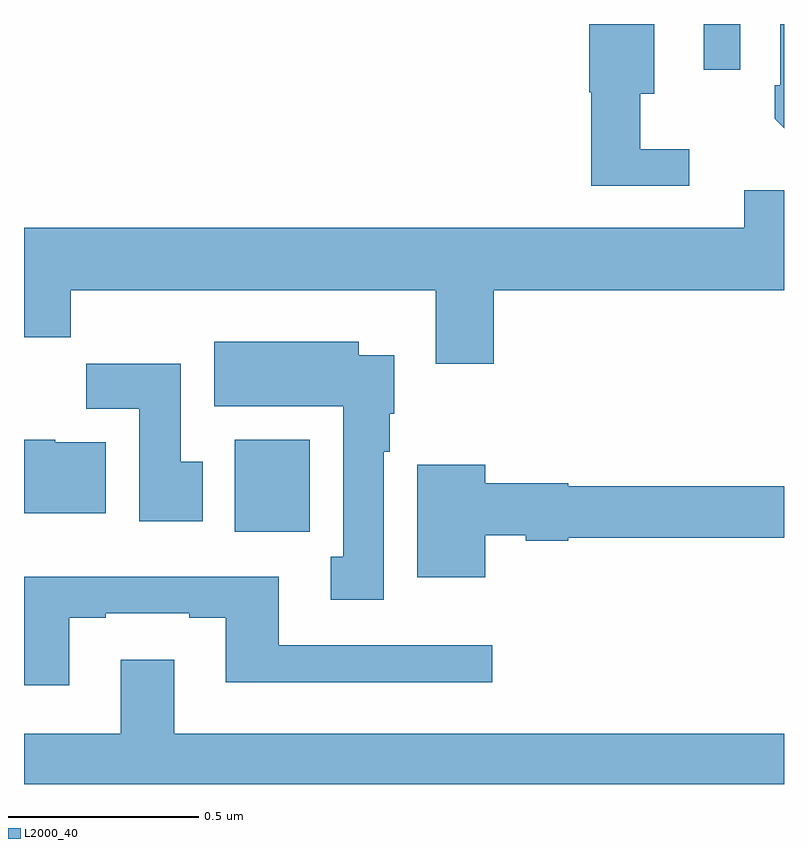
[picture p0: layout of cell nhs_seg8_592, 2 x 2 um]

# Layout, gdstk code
import gdstk
lib = gdstk.Library(unit=1e-6, precision=1e-09)
def R(c, l, rs):  # rectangles x0, y0, x1, y1
    for r in rs: c.add(gdstk.rectangle(r[:2], r[2:], *l))
def P(c, l, *ps):  # polygons
    for p in ps: c.add(gdstk.Polygon(p, *l))
L2000_40 = (2000, 40)

nhs_seg8_592 = lib.new_cell('nhs_seg8_592')
R(nhs_seg8_592, L2000_40, [(119.555,1082.564,119.752,1082.806), (120.789,1083.78,120.885,1083.9)])
P(nhs_seg8_592, L2000_40, [(121,1083.9),(120.99,1083.9),(120.99,1083.739),(120.975,1083.739),(120.975,1083.651),(121,1083.626)],
  [(120.751,1083.571),(120.622,1083.571),(120.622,1083.716),(120.658,1083.716),(120.658,1083.9),(120.488,1083.9),(120.488,1083.72),(120.493,1083.72),(120.493,1083.474),(120.751,1083.474)],
  [(120.236,1083.2),(121,1083.2),(121,1083.462),(120.896,1083.462),(120.896,1083.364),(119,1083.364),(119,1083.076),(119.123,1083.076),(119.123,1083.2),(120.083,1083.2),(120.083,1083.006),(120.236,1083.006)],
  [(119.947,1082.774),(119.962,1082.774),(119.962,1082.874),(119.974,1082.874),(119.974,1083.028),(119.881,1083.028),(119.881,1083.064),(119.501,1083.064),(119.501,1082.894),(119.84,1082.894),(119.84,1082.498),(119.807,1082.498),(119.807,1082.385),(119.947,1082.385)],
  [(119.47,1082.748),(119.413,1082.748),(119.413,1083.006),(119.164,1083.006),(119.164,1082.888),(119.303,1082.888),(119.303,1082.592),(119.47,1082.592)],
  [(119.215,1082.8),(119.082,1082.8),(119.082,1082.806),(119,1082.806),(119,1082.612),(119.215,1082.612)],
  [(120.214,1082.555),(120.321,1082.555),(120.321,1082.54),(120.432,1082.54),(120.432,1082.548),(121,1082.548),(121,1082.684),(120.432,1082.684),(120.432,1082.692),(120.214,1082.692),(120.214,1082.74),(120.035,1082.74),(120.035,1082.444),(120.214,1082.444)],
  [(119.119,1082.337),(119.215,1082.337),(119.215,1082.349),(119.435,1082.349),(119.435,1082.337),(119.531,1082.337),(119.531,1082.168),(120.232,1082.168),(120.232,1082.265),(119.671,1082.265),(119.671,1082.446),(119,1082.446),(119,1082.16),(119.119,1082.16)],
  [(121,1082.032),(119.395,1082.032),(119.395,1082.227),(119.255,1082.227),(119.255,1082.032),(119,1082.032),(119,1081.9),(121,1081.9)])

lib.write_gds('nhs_seg8_592.gds')
